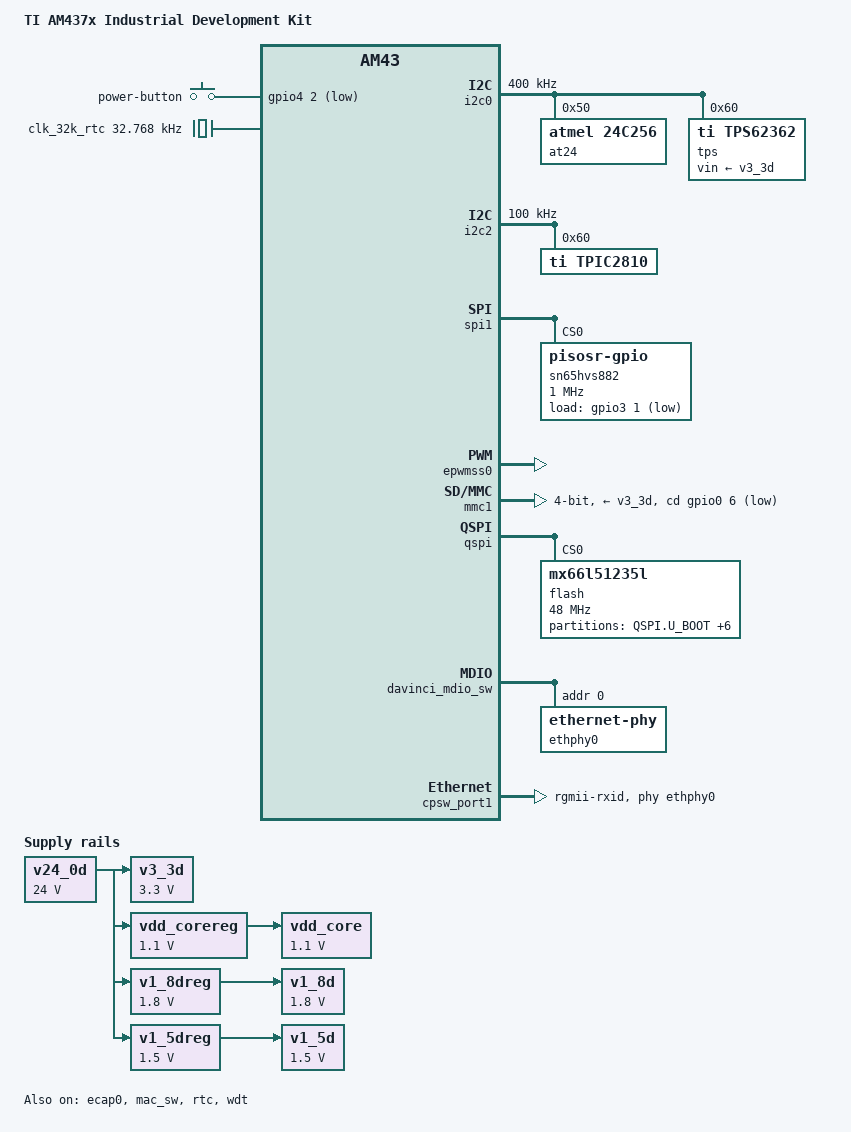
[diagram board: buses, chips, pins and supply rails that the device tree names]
// SPDX-License-Identifier: GPL-2.0-only
/*
 * Copyright (C) 2014 Texas Instruments Incorporated - https://www.ti.com/
 */

/dts-v1/;

#include "am4372.dtsi"
#include <dt-bindings/pinctrl/am43xx.h>
#include <dt-bindings/pwm/pwm.h>
#include <dt-bindings/gpio/gpio.h>
#include <dt-bindings/input/input.h>

/ {
	model = "TI AM437x Industrial Development Kit";
	compatible = "ti,am437x-idk-evm","ti,am4372","ti,am43";

	chosen {
		stdout-path = &uart0;
	};

	v24_0d: fixed-regulator-v24_0d {
		compatible = "regulator-fixed";
		regulator-name = "V24_0D";
		regulator-min-microvolt = <24000000>;
		regulator-max-microvolt = <24000000>;
		regulator-always-on;
		regulator-boot-on;
	};

	v3_3d: fixed-regulator-v3_3d {
		compatible = "regulator-fixed";
		regulator-name = "V3_3D";
		regulator-min-microvolt = <3300000>;
		regulator-max-microvolt = <3300000>;
		regulator-always-on;
		regulator-boot-on;
		vin-supply = <&v24_0d>;
	};

	vdd_corereg: fixed-regulator-vdd_corereg {
		compatible = "regulator-fixed";
		regulator-name = "VDD_COREREG";
		regulator-min-microvolt = <1100000>;
		regulator-max-microvolt = <1100000>;
		regulator-always-on;
		regulator-boot-on;
		vin-supply = <&v24_0d>;
	};

	vdd_core: fixed-regulator-vdd_core {
		compatible = "regulator-fixed";
		regulator-name = "VDD_CORE";
		regulator-min-microvolt = <1100000>;
		regulator-max-microvolt = <1100000>;
		regulator-always-on;
		regulator-boot-on;
		vin-supply = <&vdd_corereg>;
	};

	v1_8dreg: fixed-regulator-v1_8dreg{
		compatible = "regulator-fixed";
		regulator-name = "V1_8DREG";
		regulator-min-microvolt = <1800000>;
		regulator-max-microvolt = <1800000>;
		regulator-always-on;
		regulator-boot-on;
		vin-supply = <&v24_0d>;
	};

	v1_8d: fixed-regulator-v1_8d{
		compatible = "regulator-fixed";
		regulator-name = "V1_8D";
		regulator-min-microvolt = <1800000>;
		regulator-max-microvolt = <1800000>;
		regulator-always-on;
		regulator-boot-on;
		vin-supply = <&v1_8dreg>;
	};

	v1_5dreg: fixed-regulator-v1_5dreg{
		compatible = "regulator-fixed";
		regulator-name = "V1_5DREG";
		regulator-min-microvolt = <1500000>;
		regulator-max-microvolt = <1500000>;
		regulator-always-on;
		regulator-boot-on;
		vin-supply = <&v24_0d>;
	};

	v1_5d: fixed-regulator-v1_5d{
		compatible = "regulator-fixed";
		regulator-name = "V1_5D";
		regulator-min-microvolt = <1500000>;
		regulator-max-microvolt = <1500000>;
		regulator-always-on;
		regulator-boot-on;
		vin-supply = <&v1_5dreg>;
	};

	gpio_keys: gpio-keys {
		compatible = "gpio-keys";
		pinctrl-names = "default";
		pinctrl-0 = <&gpio_keys_pins_default>;

		switch-0 {
			label = "power-button";
			linux,code = <KEY_POWER>;
			gpios = <&gpio4 2 GPIO_ACTIVE_LOW>;
		};
	};

	/* fixed 32k external oscillator clock */
	clk_32k_rtc: clk_32k_rtc {
		#clock-cells = <0>;
		compatible = "fixed-clock";
		clock-frequency = <32768>;
	};

	leds-iio {
		status = "disabled";
		compatible = "gpio-leds";
		led-out0 {
			label = "out0";
			gpios = <&tpic2810 0 GPIO_ACTIVE_HIGH>;
			default-state = "off";
		};

		led-out1 {
			label = "out1";
			gpios = <&tpic2810 1 GPIO_ACTIVE_HIGH>;
			default-state = "off";
		};

		led-out2 {
			label = "out2";
			gpios = <&tpic2810 2 GPIO_ACTIVE_HIGH>;
			default-state = "off";
		};

		led-out3 {
			label = "out3";
			gpios = <&tpic2810 3 GPIO_ACTIVE_HIGH>;
			default-state = "off";
		};

		led-out4 {
			label = "out4";
			gpios = <&tpic2810 4 GPIO_ACTIVE_HIGH>;
			default-state = "off";
		};

		led-out5 {
			label = "out5";
			gpios = <&tpic2810 5 GPIO_ACTIVE_HIGH>;
			default-state = "off";
		};

		led-out6 {
			label = "out6";
			gpios = <&tpic2810 6 GPIO_ACTIVE_HIGH>;
			default-state = "off";
		};

		led-out7 {
			label = "out7";
			gpios = <&tpic2810 7 GPIO_ACTIVE_HIGH>;
			default-state = "off";
		};
	};
};

&am43xx_pinmux {
	gpio_keys_pins_default: gpio_keys_pins_default {
		pinctrl-single,pins = <
			AM4372_IOPAD(0x9b8, PIN_INPUT | MUX_MODE7)	/* cam0_field.gpio4_2 */
		>;
	};

	i2c0_pins_default: i2c0_pins_default {
		pinctrl-single,pins = <
			AM4372_IOPAD(0x988, PIN_INPUT | SLEWCTRL_FAST | MUX_MODE0) /* i2c0_sda.i2c0_sda */
			AM4372_IOPAD(0x98c, PIN_INPUT | SLEWCTRL_FAST | MUX_MODE0) /* i2c0_scl.i2c0_scl */
		>;
	};

	i2c0_pins_sleep: i2c0_pins_sleep {
		pinctrl-single,pins = <
			AM4372_IOPAD(0x988, PIN_INPUT_PULLDOWN | MUX_MODE7)
			AM4372_IOPAD(0x98c, PIN_INPUT_PULLDOWN | MUX_MODE7)
		>;
	};

	i2c2_pins_default: i2c2_pins_default {
		pinctrl-single,pins = <
			AM4372_IOPAD(0x9e8, PIN_INPUT | SLEWCTRL_FAST | MUX_MODE3) /* cam1_data1.i2c2_scl */
			AM4372_IOPAD(0x9ec, PIN_INPUT | SLEWCTRL_FAST | MUX_MODE3) /* cam1_data0.i2c2_sda */
		>;
	};

	i2c2_pins_sleep: i2c2_pins_sleep {
		pinctrl-single,pins = <
			AM4372_IOPAD(0x9e8, PIN_INPUT_PULLDOWN | MUX_MODE7)
			AM4372_IOPAD(0x9ec, PIN_INPUT_PULLDOWN | MUX_MODE7)
		>;
	};

	mmc1_pins_default: pinmux_mmc1_pins_default {
		pinctrl-single,pins = <
			AM4372_IOPAD(0x900, PIN_INPUT | MUX_MODE0) /* mmc0_clk.mmc0_clk */
			AM4372_IOPAD(0x904, PIN_INPUT | MUX_MODE0) /* mmc0_cmd.mmc0_cmd */
			AM4372_IOPAD(0x9f0, PIN_INPUT | MUX_MODE0) /* mmc0_dat3.mmc0_dat3 */
			AM4372_IOPAD(0x9f4, PIN_INPUT | MUX_MODE0) /* mmc0_dat2.mmc0_dat2 */
			AM4372_IOPAD(0x9f8, PIN_INPUT | MUX_MODE0) /* mmc0_dat1.mmc0_dat1 */
			AM4372_IOPAD(0x9fc, PIN_INPUT | MUX_MODE0) /* mmc0_dat0.mmc0_dat0 */
			AM4372_IOPAD(0x960, PIN_INPUT | MUX_MODE7) /* spi0_cs1.gpio0_6 */
		>;
	};

	mmc1_pins_sleep: pinmux_mmc1_pins_sleep {
		pinctrl-single,pins = <
			AM4372_IOPAD(0x900, PIN_INPUT_PULLDOWN | MUX_MODE7)
			AM4372_IOPAD(0x904, PIN_INPUT_PULLDOWN | MUX_MODE7)
			AM4372_IOPAD(0x9f0, PIN_INPUT_PULLDOWN | MUX_MODE7)
			AM4372_IOPAD(0x9f4, PIN_INPUT_PULLDOWN | MUX_MODE7)
			AM4372_IOPAD(0x9f8, PIN_INPUT_PULLDOWN | MUX_MODE7)
			AM4372_IOPAD(0x9fc, PIN_INPUT_PULLDOWN | MUX_MODE7)
			AM4372_IOPAD(0x960, PIN_INPUT_PULLDOWN | MUX_MODE7)
		>;
	};

	spi1_pins_default: spi1_pins_default {
		pinctrl-single,pins = <
			AM4372_IOPAD(0x908, PIN_INPUT | MUX_MODE2)	/* mii1_col.spi1_sclk */
			AM4372_IOPAD(0x910, PIN_INPUT | MUX_MODE2)	/* mii1_rx_er.spi1_d1 */
			AM4372_IOPAD(0x944, PIN_OUTPUT | MUX_MODE2)	/* rmii1_ref_clk.spi1_cs0 */
			AM4372_IOPAD(0x90c, PIN_OUTPUT | MUX_MODE7)	/* mii1_crs.gpio3_1 */
		>;
	};

	spi1_pins_sleep: spi1_pins_sleep {
		pinctrl-single,pins = <
			AM4372_IOPAD(0x908, PIN_INPUT_PULLDOWN | MUX_MODE7)
			AM4372_IOPAD(0x910, PIN_INPUT_PULLDOWN | MUX_MODE7)
			AM4372_IOPAD(0x944, PIN_INPUT_PULLDOWN | MUX_MODE7)
			AM4372_IOPAD(0x90c, PIN_INPUT_PULLDOWN | MUX_MODE7)
		>;
	};

	ecap0_pins_default: backlight_pins_default {
		pinctrl-single,pins = <
			AM4372_IOPAD(0x964, PIN_OUTPUT | MUX_MODE0) /* ecap0_in_pwm0_out.ecap0_in_pwm0_out */
		>;
	};

	cpsw_default: cpsw_default {
		pinctrl-single,pins = <
			AM4372_IOPAD(0x92c, PIN_OUTPUT_PULLDOWN | MUX_MODE2)	/* mii1_txclk.rgmii1_tclk */
			AM4372_IOPAD(0x914, PIN_OUTPUT_PULLDOWN | MUX_MODE2)	/* mii1_txen.rgmii1_tctl */
			AM4372_IOPAD(0x928, PIN_OUTPUT_PULLDOWN | MUX_MODE2)	/* mii1_txd0.rgmii1_td0 */
			AM4372_IOPAD(0x924, PIN_OUTPUT_PULLDOWN | MUX_MODE2)	/* mii1_txd1.rgmii1_td1 */
			AM4372_IOPAD(0x920, PIN_OUTPUT_PULLDOWN | MUX_MODE2)	/* mii1_txd0.rgmii1_td2 */
			AM4372_IOPAD(0x91c, PIN_OUTPUT_PULLDOWN | MUX_MODE2)	/* mii1_txd1.rgmii1_td3 */
			AM4372_IOPAD(0x930, PIN_INPUT_PULLDOWN | MUX_MODE2)	/* mii1_rxclk.rmii1_rclk */
			AM4372_IOPAD(0x918, PIN_INPUT_PULLDOWN | MUX_MODE2)	/* mii1_rxdv.rgmii1_rctl */
			AM4372_IOPAD(0x940, PIN_INPUT_PULLDOWN | MUX_MODE2)	/* mii1_rxd0.rgmii1_rd0 */
			AM4372_IOPAD(0x93c, PIN_INPUT_PULLDOWN | MUX_MODE2)	/* mii1_rxd1.rgmii1_rd1 */
			AM4372_IOPAD(0x938, PIN_INPUT_PULLDOWN | MUX_MODE2)	/* mii1_rxd0.rgmii1_rd2 */
			AM4372_IOPAD(0x934, PIN_INPUT_PULLDOWN | MUX_MODE2)	/* mii1_rxd1.rgmii1_rd3 */
		>;
	};

	cpsw_sleep: cpsw_sleep {
		pinctrl-single,pins = <
			AM4372_IOPAD(0x92c, PIN_INPUT_PULLDOWN | MUX_MODE7)
			AM4372_IOPAD(0x914, PIN_INPUT_PULLDOWN | MUX_MODE7)
			AM4372_IOPAD(0x928, PIN_INPUT_PULLDOWN | MUX_MODE7)
			AM4372_IOPAD(0x924, PIN_INPUT_PULLDOWN | MUX_MODE7)
			AM4372_IOPAD(0x920, PIN_INPUT_PULLDOWN | MUX_MODE7)
			AM4372_IOPAD(0x91c, PIN_INPUT_PULLDOWN | MUX_MODE7)
			AM4372_IOPAD(0x930, PIN_INPUT_PULLDOWN | MUX_MODE7)
			AM4372_IOPAD(0x918, PIN_INPUT_PULLDOWN | MUX_MODE7)
			AM4372_IOPAD(0x940, PIN_INPUT_PULLDOWN | MUX_MODE7)
			AM4372_IOPAD(0x93c, PIN_INPUT_PULLDOWN | MUX_MODE7)
			AM4372_IOPAD(0x938, PIN_INPUT_PULLDOWN | MUX_MODE7)
			AM4372_IOPAD(0x934, PIN_INPUT_PULLDOWN | MUX_MODE7)
		>;
	};

	davinci_mdio_default: davinci_mdio_default {
		pinctrl-single,pins = <
			/* MDIO */
			AM4372_IOPAD(0x948, PIN_INPUT_PULLUP | SLEWCTRL_FAST | MUX_MODE0)	/* mdio_data.mdio_data */
			AM4372_IOPAD(0x94c, PIN_OUTPUT_PULLUP | MUX_MODE0)			/* mdio_clk.mdio_clk */
		>;
	};

	davinci_mdio_sleep: davinci_mdio_sleep {
		pinctrl-single,pins = <
			/* MDIO reset value */
			AM4372_IOPAD(0x948, PIN_INPUT_PULLDOWN | MUX_MODE7)
			AM4372_IOPAD(0x94c, PIN_INPUT_PULLDOWN | MUX_MODE7)
		>;
	};

	qspi_pins_default: qspi_pins_default {
		pinctrl-single,pins = <
			AM4372_IOPAD(0x87c, PIN_OUTPUT_PULLUP | MUX_MODE3)	/* gpmc_csn0.qspi_csn */
			AM4372_IOPAD(0x888, PIN_OUTPUT | MUX_MODE2)		/* gpmc_csn3.qspi_clk */
			AM4372_IOPAD(0x890, PIN_INPUT_PULLUP | MUX_MODE3)	/* gpmc_advn_ale.qspi_d0 */
			AM4372_IOPAD(0x894, PIN_INPUT_PULLUP | MUX_MODE3)	/* gpmc_oen_ren.qspi_d1 */
			AM4372_IOPAD(0x898, PIN_INPUT_PULLUP | MUX_MODE3)	/* gpmc_wen.qspi_d2 */
			AM4372_IOPAD(0x89c, PIN_INPUT_PULLUP | MUX_MODE3)	/* gpmc_be0n_cle.qspi_d3 */
		>;
	};

	qspi_pins_sleep: qspi_pins_sleep{
		pinctrl-single,pins = <
			AM4372_IOPAD(0x87c, PIN_INPUT_PULLDOWN | MUX_MODE7)
			AM4372_IOPAD(0x888, PIN_INPUT_PULLDOWN | MUX_MODE7)
			AM4372_IOPAD(0x890, PIN_INPUT_PULLDOWN | MUX_MODE7)
			AM4372_IOPAD(0x894, PIN_INPUT_PULLDOWN | MUX_MODE7)
			AM4372_IOPAD(0x898, PIN_INPUT_PULLDOWN | MUX_MODE7)
			AM4372_IOPAD(0x89c, PIN_INPUT_PULLDOWN | MUX_MODE7)
		>;
	};
};

&i2c0 {
	status = "okay";
	pinctrl-names = "default", "sleep";
	pinctrl-0 = <&i2c0_pins_default>;
	pinctrl-1 = <&i2c0_pins_sleep>;
	clock-frequency = <400000>;

	at24@50 {
		compatible = "atmel,24c256";
		pagesize = <64>;
		reg = <0x50>;
	};

	tps: tps62362@60 {
		compatible = "ti,tps62362";
		reg = <0x60>;
		regulator-name = "VDD_MPU";
		regulator-min-microvolt = <950000>;
		regulator-max-microvolt = <1330000>;
		regulator-boot-on;
		regulator-always-on;
		ti,vsel0-state-high;
		ti,vsel1-state-high;
		vin-supply = <&v3_3d>;
	};
};

&i2c2 {
	status = "okay";
	pinctrl-names = "default", "sleep";
	pinctrl-0 = <&i2c2_pins_default>;
	pinctrl-1 = <&i2c2_pins_sleep>;
	clock-frequency = <100000>;

	tpic2810: tpic2810@60 {
		compatible = "ti,tpic2810";
		reg = <0x60>;
		gpio-controller;
		#gpio-cells = <2>;
	};
};

&spi1 {
	status = "okay";
	pinctrl-names = "default", "sleep";
	pinctrl-0 = <&spi1_pins_default>;
	pinctrl-1 = <&spi1_pins_sleep>;
	ti,pindir-d0-out-d1-in;

	sn65hvs882: sn65hvs882@0 {
		compatible = "pisosr-gpio";
		gpio-controller;
		#gpio-cells = <2>;

		load-gpios = <&gpio3 1 GPIO_ACTIVE_LOW>;

		reg = <0>;
		spi-max-frequency = <1000000>;
		spi-cpol;
	};
};

&epwmss0 {
	status = "okay";
};

&ecap0 {
	status = "okay";
	pinctrl-names = "default";
	pinctrl-0 = <&ecap0_pins_default>;
};

&gpio0 {
	status = "okay";
};

&gpio1 {
	status = "okay";
};

&gpio3 {
	status = "okay";
};

&gpio4 {
	status = "okay";
};

&gpio5 {
	status = "okay";
};

&mmc1 {
	status = "okay";
	pinctrl-names = "default", "sleep";
	pinctrl-0 = <&mmc1_pins_default>;
	pinctrl-1 = <&mmc1_pins_sleep>;
	vmmc-supply = <&v3_3d>;
	bus-width = <4>;
	cd-gpios = <&gpio0 6 GPIO_ACTIVE_LOW>;
};

&qspi {
	status = "okay";
	pinctrl-names = "default", "sleep";
	pinctrl-0 = <&qspi_pins_default>;
	pinctrl-1 = <&qspi_pins_sleep>;

	spi-max-frequency = <48000000>;
	flash@0 {
		compatible = "mx66l51235l";
		spi-max-frequency = <48000000>;
		reg = <0>;
		spi-cpol;
		spi-cpha;
		spi-tx-bus-width = <1>;
		spi-rx-bus-width = <4>;
		#address-cells = <1>;
		#size-cells = <1>;

		/*
		 * MTD partition table.  The ROM checks the first 512KiB for a
		 * valid file to boot(XIP).
		 */
		partition@0 {
			label = "QSPI.U_BOOT";
			reg = <0x00000000 0x00080000>;
		};
		partition@1 {
			label = "QSPI.U_BOOT.backup";
			reg = <0x00080000 0x00080000>;
		};
		partition@2 {
			label = "QSPI.U-BOOT-SPL_OS";
			reg = <0x00100000 0x00010000>;
		};
		partition@3 {
			label = "QSPI.U_BOOT_ENV";
			reg = <0x00110000 0x00010000>;
		};
		partition@4 {
			label = "QSPI.U-BOOT-ENV.backup";
			reg = <0x00120000 0x00010000>;
		};
		partition@5 {
			label = "QSPI.KERNEL";
			reg = <0x00130000 0x0800000>;
		};
		partition@6 {
			label = "QSPI.FILESYSTEM";
			reg = <0x00930000 0x36D0000>;
		};
	};
};

&mac_sw {
	pinctrl-names = "default", "sleep";
	pinctrl-0 = <&cpsw_default>;
	pinctrl-1 = <&cpsw_sleep>;
	status = "okay";
};

&davinci_mdio_sw {
	pinctrl-names = "default", "sleep";
	pinctrl-0 = <&davinci_mdio_default>;
	pinctrl-1 = <&davinci_mdio_sleep>;

	ethphy0: ethernet-phy@0 {
		reg = <0>;
	};
};

&cpsw_port1 {
	phy-handle = <&ethphy0>;
	phy-mode = "rgmii-rxid";
	ti,dual-emac-pvid = <1>;
};

&cpsw_port2 {
	status = "disabled";
};

&rtc {
	clocks = <&clk_32k_rtc>, <&clk_32768_ck>;
	clock-names = "ext-clk", "int-clk";
	status = "okay";
};

&wdt {
	status = "okay";
};

&cpu {
	cpu0-supply = <&tps>;
};

&cpu0_opp_table {
	/*
	 * Supply voltage supervisor on board will not allow opp50 so
	 * disable it and set opp100 as suspend OPP.
	 */
	opp50-300000000 {
		status = "disabled";
	};

	opp100-600000000 {
		opp-suspend;
	};
};

&pruss1_mdio {
	status = "disabled";
};
